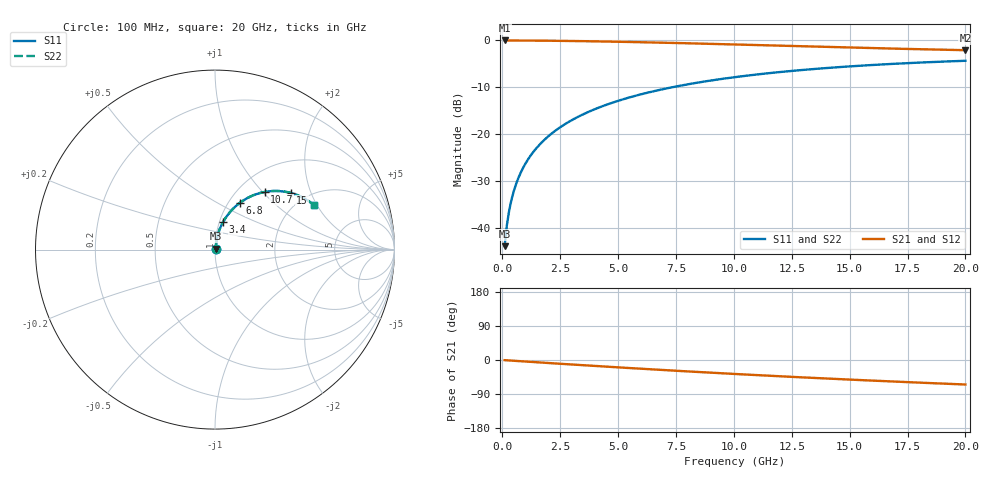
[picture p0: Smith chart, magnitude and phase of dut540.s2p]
! Touchstone file exported from HFSS 2026.1.0
!  File:  C:/ffzhzh/LocalFiles/Ansys_Project_Files/temp_train_BSMRDL_540_1783014924_4048.aedt
!  Generated:  01:56:55 AM Jul  3, 2026
!  Design:  BSMRDL
!  Project:  temp_train_BSMRDL_540_1783014924_4048
! Variables:
!  h_bsmrdl = 5.48um
!  h_ox = 20um
!  h_rdl = 5um
!  h_sub = 80um
!  h_tmrdl = 5um
!  h_tsv = 80um
!  h_via = 3um
!  l_bsmrdl = 996.73um
!  l_sub = 1396.73um
!  l_tmrdl = 200um
!  m_sub = 200um
!  pitch = 59.12um
!  r_tsv = 6um
!  s_tmrdl = 10um
!  w_bsmrdl = 16.98um
!  w_sub = 500um
!  w_tmrdl = 12um
!  x_tsv_center1 = 206um
!  x_tsv_center2 = 1219.71um
!  x_tsv_center3 = 1431.71um
!  x_tsv_center4 = 2445.42um
!  x_tsv_center5 = 2657.42um
!  x_tsv_center6 = 3671.13um
# GHz S MA R 50.000000
! Terminal data exported
! Port[1] = BSM_RDL1_1_T1
! Port[2] = BSM_RDL1_1_T2
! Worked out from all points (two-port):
!   200 points, 100 MHz to 20 GHz, reference 50 ohm
!   highest |S21| = -0.03 dB at 100 MHz (marker M1); lowest = -2.1 dB at 20 GHz (marker M2)
!   |S21| within 3 dB of the highest: start of sweep to end of sweep
!   lowest |S11| = -44.0 dB at 100 MHz (marker M3), VSWR 1.01, Z = 50.4 + j0.501 ohm
!   |S11| at or under -10 dB: start of sweep to 7.37 GHz
!   |S22| runs from -44.0 to -4.4 dB; largest |S21 - S12| = 4.6e-15
!   S11 on the Smith chart (normalised r, x): 100 MHz: 1.01, +0.01; 3.4 GHz: 1.04, +0.32; 6.8 GHz: 1.13, +0.64; 10.7 GHz: 1.31, +1.02; 15 GHz: 1.66, +1.45; 20 GHz: 2.42, +1.88
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0.1  0.006319 51.9  0.9961 -0.4  0.9961 -0.4  0.006319 51.9
! Gamma 0 0 0 0
! Port Impedance 50 0 50 0
0.2  0.01069 67.1  0.9959 -0.8  0.9959 -0.8  0.01069 67.1
0.3  0.01531 73.0  0.9957 -1.2  0.9957 -1.2  0.01531 73.0
0.4  0.01997 75.9  0.9955 -1.6  0.9955 -1.6  0.01997 76.0
0.5  0.02465 77.7  0.9953 -2.0  0.9953 -2.0  0.02465 77.7
0.7  0.03405 79.5  0.9949 -2.8  0.9949 -2.8  0.03405 79.5
1  0.04818 80.3  0.9941 -4.0  0.9941 -4.0  0.04818 80.3
1.4  0.06698 80.0  0.9926 -5.6  0.9926 -5.6  0.06698 80.0
2  0.09489 78.5  0.9897 -8.0  0.9897 -8.0  0.09488 78.5
2.6  0.1223 76.6  0.986 -10.3  0.986 -10.3  0.1223 76.6
3.4  0.1579 73.8  0.98 -13.4  0.98 -13.4  0.1579 73.9
3.5  0.1623 73.5  0.9792 -13.8  0.9792 -13.8  0.1623 73.5
4.2  0.1924 71.0  0.9729 -16.5  0.9729 -16.5  0.1924 71.0
5  0.2256 68.2  0.965 -19.4  0.965 -19.4  0.2256 68.2
6.8  0.2955 61.9  0.9445 -25.9  0.9445 -25.9  0.2955 62.0
8.3  0.3485 56.9  0.9256 -31.1  0.9256 -31.1  0.3485 57.0
10.1  0.4057 51.2  0.9016 -37.1  0.9016 -37.1  0.4056 51.3
10.7  0.4231 49.3  0.8935 -39.0  0.8935 -39.0  0.4231 49.4
13.4  0.4922 41.3  0.8575 -47.2  0.8575 -47.2  0.4922 41.4
15  0.5263 36.8  0.8372 -51.7  0.8372 -51.7  0.5263 37.0
16.7  0.5573 32.3  0.8172 -56.3  0.8172 -56.3  0.5573 32.5
20  0.6042 24.1  0.784 -64.7  0.784 -64.7  0.6042 24.3
